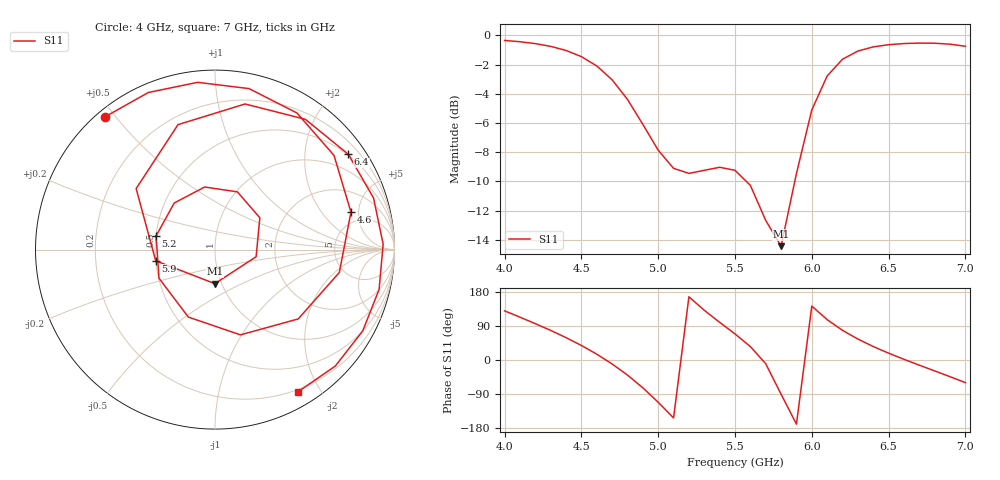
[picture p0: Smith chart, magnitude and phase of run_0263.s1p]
! Touchstone file exported from HFSS 2024.2.0
!  File:  C:/Users/wsak9/Desktop/Sim Fast/Widenad Patch/WP_AI_V1_sweep.aedt
!  Generated:  02:03:49 AM Oct 14, 2026
!  Design:  A1_model
!  Project:  WP_AI_V1_sweep
!  Setup:  Setup1
!  Solution:  Sweep
! Variables:
!  Air_gap = 4.96mm
!  Curve_Amp1 = 2.52
!  Curve_len1 = 1
!  Curve_pos = 10.81mm
!  Extra = 3.74mm
!  H_sub = 0.79mm
!  L_Patch = 17.62mm
!  L_Patch1 = 15.51mm
!  Sx = 1.17mm
!  Sy = 4.61mm
!  WS = 1.11mm
!  W_Patch = 13.42mm
!  W_Patch1 = 11.77mm
!Data is not renormalized
# GHz S MA
! Terminal data exported
! Port[1] = 1
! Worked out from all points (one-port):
!   31 points, 4 GHz to 7 GHz, reference per port
!   lowest |S11| = -14.4 dB at 5.8 GHz (marker M1), VSWR 1.47
!   |S11| at or under -10 dB: 5.574 GHz to 5.889 GHz (315.7 MHz wide, 5.51 % of centre)
!   S11 on the Smith chart (normalised r, x): 4 GHz: 0.02, +0.47; 4.6 GHz: 3.74, +4.08; 5.2 GHz: 0.50, +0.09; 5.9 GHz: 0.50, -0.07; 6.4 GHz: 0.48, +3.05; 7 GHz: 0.17, -1.73
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4  0.9605 129.6
4.2  0.9369 95.9
4.3  0.9168 78.1
4.4  0.8877 59.0
4.5  0.8456 38.3
4.6  0.7857 15.4
4.7  0.7043 -10.4
4.8  0.6034 -39.8
4.9  0.4957 -73.4
5  0.4042 -111.6
5.1  0.3505 -152.9
5.2  0.3368 166.9
5.3  0.345 131.2
5.4  0.3534 99.4
5.5  0.3451 68.8
5.6  0.3064 35.4
5.7  0.2325 -9.8
5.8  0.1897 -90.2
5.9  0.3362 -169.3
6  0.5554 142.3
6.1  0.726 106.5
6.2  0.8285 78.3
6.3  0.8834 55.3
6.4  0.9131 35.6
6.5  0.929 18.0
6.7  0.9408 -13.6
6.8  0.9397 -28.8
7  0.9175 -59.7
